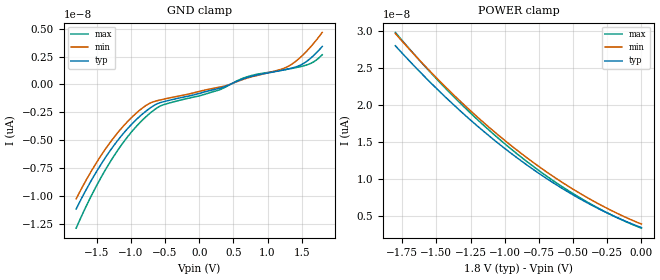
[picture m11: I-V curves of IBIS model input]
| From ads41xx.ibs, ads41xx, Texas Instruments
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|   Model input
[Model]   input
Model_type Terminator
C_comp   2.4000pF   2.200pF   2.600pF
[Temperature Range]   25.0000   0.1250k   -40.0000
[Voltage Range]   1.8000V   1.7000V   1.9000V
[GND_clamp]
|Voltage   I(typ)   I(min)   I(max)
-1.8V     -11.15fA   -10.24fA   -12.86fA
-1.5V     -7.781fA   -6.974fA   -9.046fA
-1.2V     -5.074fA   -4.379fA   -5.967fA
-880mV    -2.916fA   -2.355fA   -3.497fA
-630mV    -1.776fA   -1.478fA   -2.153fA
-490mV    -1.495fA   -1.277fA   -1.754fA
290mV     0A         0A         0A
720mV     0A         0A         0A
1.25V     1.32fA     1.476fA    1.316fA
1.53V     1.895fA    2.716fA    1.673fA
1.66V     2.515fA    3.579fA    1.975fA
1.8V      3.397fA    4.664fA    2.659fA
[POWER_clamp]
|Voltage   I(typ)   I(min)   I(max)
-1.8V     28.04fA    29.7fA     29.85fA
-1.57V    23.56fA    25.04fA    24.98fA
-1.35V    19.64fA    20.96fA    20.72fA
-1.12V    15.91fA    17.08fA    16.69fA
-900mV    12.72fA    13.74fA    13.25fA
-670mV    9.764fA    10.64fA    10.07fA
-450mV    7.302fA    8.04fA     7.44fA
-220mV    5.114fA    5.716fA    5.12fA
0V        3.397fA    3.873fA    3.323fA
[Rpower]   5000   4500   5500
[Rgnd]   5000   4500   5500
| End [Model] input
